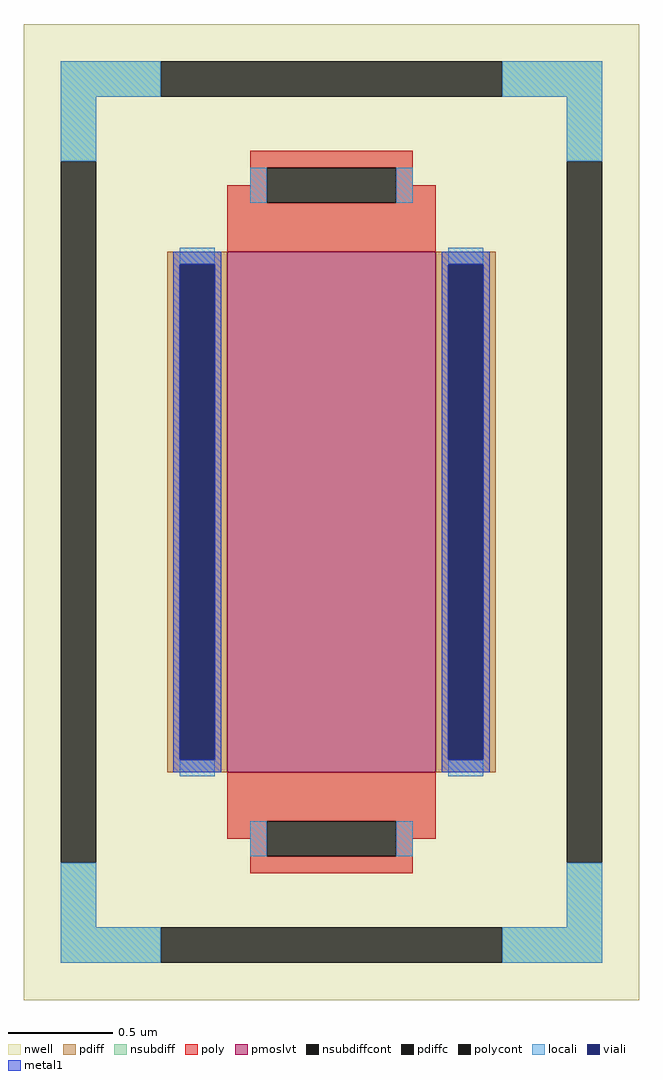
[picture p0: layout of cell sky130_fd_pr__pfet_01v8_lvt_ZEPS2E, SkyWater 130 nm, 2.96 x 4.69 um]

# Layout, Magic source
magic
tech sky130A
magscale 1 2
<< nwell >>
rect -296 -469 296 469
<< pmoslvt >>
rect -100 -250 100 250
<< pdiff >>
rect -158 238 -100 250
rect -158 -238 -146 238
rect -112 -238 -100 238
rect -158 -250 -100 -238
rect 100 238 158 250
rect 100 -238 112 238
rect 146 -238 158 238
rect 100 -250 158 -238
<< pdiffc >>
rect -146 -238 -112 238
rect 112 -238 146 238
<< nsubdiff >>
rect -260 399 -164 433
rect 164 399 260 433
rect -260 337 -226 399
rect 226 337 260 399
rect -260 -399 -226 -337
rect 226 -399 260 -337
rect -260 -433 -164 -399
rect 164 -433 260 -399
<< nsubdiffcont >>
rect -164 399 164 433
rect -260 -337 -226 337
rect 226 -337 260 337
rect -164 -433 164 -399
<< poly >>
rect -78 331 78 347
rect -78 314 -62 331
rect -100 297 -62 314
rect 62 314 78 331
rect 62 297 100 314
rect -100 250 100 297
rect -100 -297 100 -250
rect -100 -314 -62 -297
rect -78 -331 -62 -314
rect 62 -314 100 -297
rect 62 -331 78 -314
rect -78 -347 78 -331
<< polycont >>
rect -62 297 62 331
rect -62 -331 62 -297
<< locali >>
rect -260 399 -164 433
rect 164 399 260 433
rect -260 337 -226 399
rect 226 337 260 399
rect -78 297 -62 331
rect 62 297 78 331
rect -146 238 -112 254
rect -146 -254 -112 -238
rect 112 238 146 254
rect 112 -254 146 -238
rect -78 -331 -62 -297
rect 62 -331 78 -297
rect -260 -399 -226 -337
rect 226 -399 260 -337
rect -260 -433 -164 -399
rect 164 -433 260 -399
<< viali >>
rect -146 -238 -112 238
rect 112 -238 146 238
<< metal1 >>
rect -152 238 -106 250
rect -152 -238 -146 238
rect -112 -238 -106 238
rect -152 -250 -106 -238
rect 106 238 152 250
rect 106 -238 112 238
rect 146 -238 152 238
rect 106 -250 152 -238
<< properties >>
string FIXED_BBOX -243 -416 243 416
string gencell sky130_fd_pr__pfet_01v8_lvt
string library sky130
string parameters w 2.5 l 1.0 m 1 nf 1 diffcov 100 polycov 74 guard 1 glc 1 grc 1 gtc 1 gbc 1 tbcov 100 rlcov 100 topc 1 botc 1 poverlap 1 doverlap 1 lmin 0.35 wmin 0.42 class mosfet compatible {sky130_fd_pr__pfet_01v8  sky130_fd_pr__pfet_01v8_lvt sky130_fd_pr__pfet_01v8_hvt  sky130_fd_pr__pfet_g5v0d10v5} full_metal 1 viasrc 100 viadrn 100 viagate 0 viagb 0 viagr 0 viagl 0 viagt 0
<< end >>
